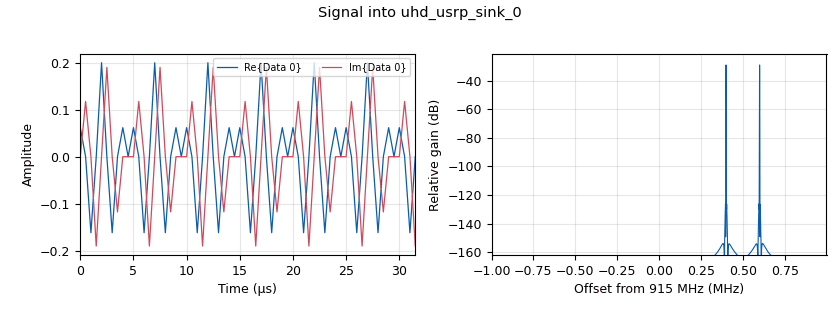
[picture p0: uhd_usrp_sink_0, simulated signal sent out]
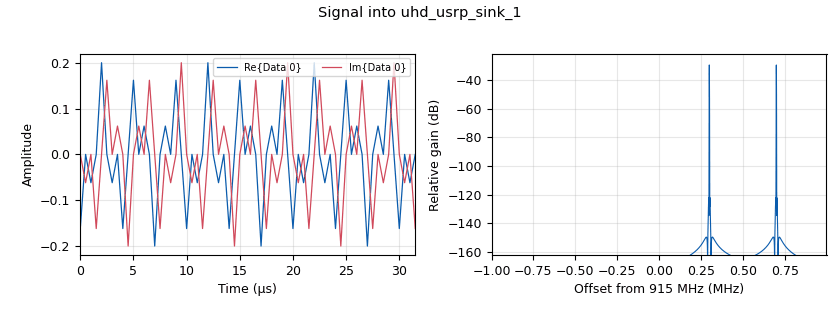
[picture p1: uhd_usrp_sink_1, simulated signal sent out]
<?xml version='1.0' encoding='utf-8'?>
<?grc format='1' created='3.7.13'?>
<flow_graph>
<block>
<key>options</key>
<param><key>id</key><value>top_block</value></param>
<param><key>generate_options</key><value>qt_gui</value></param>
</block>
<block>
<key>variable</key>
<param><key>id</key><value>amp</value></param>
<param><key>value</key><value>0.1</value></param>
</block>
<block>
<key>variable</key>
<param><key>id</key><value>bw</value></param>
<param><key>value</key><value>2e6</value></param>
</block>
<block>
<key>variable</key>
<param><key>id</key><value>center_freq_rx</value></param>
<param><key>value</key><value>center_freq_tx + samp_rate</value></param>
</block>
<block>
<key>variable</key>
<param><key>id</key><value>center_freq_tx</value></param>
<param><key>value</key><value>915e6</value></param>
</block>
<block>
<key>variable</key>
<param><key>id</key><value>fft_size</value></param>
<param><key>value</key><value>20</value></param>
</block>
<block>
<key>variable</key>
<param><key>id</key><value>master_signal</value></param>
<param><key>value</key><value>(0, 0, 0, 0, 0,0, 0, 0, 0, 0, 0, 0, 0, 0, 1, 0, 1,  0, 0, 0)</value></param>
</block>
<block>
<key>variable</key>
<param><key>id</key><value>power_gain</value></param>
<param><key>value</key><value>70</value></param>
</block>
<block>
<key>variable</key>
<param><key>id</key><value>samp_rate</value></param>
<param><key>value</key><value>2e6</value></param>
</block>
<block>
<key>variable</key>
<param><key>id</key><value>slave_signal_1</value></param>
<param><key>value</key><value>(0, 0, 0, 0, 0,0, 0, 0, 0, 0, 0, 0, 0, 1, 0, 0, 0,  1, 0, 0)</value></param>
</block>
<block>
<key>beamnet_channel_estimation</key>
<param><key>id</key><value>beamnet_channel_estimation_0</value></param>
<param><key>tx_ch_index</key><value>(0, 0, 0, 0, 0,0, 0, 0, 0, 0, 0, 0, 0, 1, 1, 0, 1,  1, 0, 0)</value></param>
<param><key>tx_num</key><value>2</value></param>
</block>
<block>
<key>beamnet_correlation_detector</key>
<param><key>id</key><value>beamnet_correlation_detector_0</value></param>
<param><key>deviation</key><value>1e-4</value></param>
<param><key>len</key><value>3 * fft_size</value></param>
<param><key>threshold</key><value>2e-3</value></param>
</block>
<block>
<key>blocks_file_sink</key>
<param><key>id</key><value>blocks_file_sink_0</value></param>
<param><key>_enabled</key><value>0</value></param>
<param><key>file</key><value>/home/shiyue_deep/Projects/gr-beamnet/apps/debug_raw_data_from_master.bin</value></param>
<param><key>type</key><value>complex</value></param>
</block>
<block>
<key>blocks_multiply_const_vxx</key>
<param><key>id</key><value>blocks_multiply_const_vxx_0</value></param>
<param><key>const</key><value>amp</value></param>
<param><key>type</key><value>complex</value></param>
</block>
<block>
<key>blocks_multiply_const_vxx</key>
<param><key>id</key><value>blocks_multiply_const_vxx_0_0</value></param>
<param><key>const</key><value>amp</value></param>
<param><key>type</key><value>complex</value></param>
</block>
<block>
<key>blocks_vector_to_stream</key>
<param><key>id</key><value>blocks_vector_to_stream_0_0_0</value></param>
<param><key>type</key><value>complex</value></param>
<param><key>num_items</key><value>fft_size</value></param>
</block>
<block>
<key>blocks_vector_to_stream</key>
<param><key>id</key><value>blocks_vector_to_stream_0_0_0_0</value></param>
<param><key>type</key><value>complex</value></param>
<param><key>num_items</key><value>fft_size</value></param>
</block>
<block>
<key>qtgui_time_sink_x</key>
<param><key>id</key><value>qtgui_time_sink_x_0</value></param>
<param><key>autoscale</key><value>True</value></param>
<param><key>color1</key><value>"blue"</value></param>
<param><key>label1</key><value></value></param>
<param><key>size</key><value>1024</value></param>
<param><key>srate</key><value>samp_rate</value></param>
<param><key>type</key><value>float</value></param>
</block>
<block>
<key>fft_vxx</key>
<param><key>id</key><value>reverse_fft_vxx_1</value></param>
<param><key>fft_size</key><value>fft_size</value></param>
<param><key>forward</key><value>False</value></param>
<param><key>type</key><value>complex</value></param>
<param><key>shift</key><value>True</value></param>
<param><key>window</key><value>()</value></param>
</block>
<block>
<key>fft_vxx</key>
<param><key>id</key><value>reverse_fft_vxx_1_0</value></param>
<param><key>fft_size</key><value>fft_size</value></param>
<param><key>forward</key><value>False</value></param>
<param><key>type</key><value>complex</value></param>
<param><key>shift</key><value>True</value></param>
<param><key>window</key><value>()</value></param>
</block>
<block>
<key>uhd_usrp_sink</key>
<param><key>id</key><value>uhd_usrp_sink_0</value></param>
<param><key>ant0</key><value>TX/RX</value></param>
<param><key>bw0</key><value>bw</value></param>
<param><key>center_freq0</key><value>center_freq_tx</value></param>
<param><key>norm_gain0</key><value>False</value></param>
<param><key>gain0</key><value>power_gain</value></param>
<param><key>clock_rate</key><value>0.0</value></param>
<param><key>dev_addr</key><value>"serial=3102765"</value></param>
<param><key>dev_args</key><value>""</value></param>
<param><key>type</key><value>fc32</value></param>
<param><key>sd_spec0</key><value>A:A</value></param>
<param><key>samp_rate</key><value>samp_rate</value></param>
<param><key>hide_cmd_port</key><value>False</value></param>
<param><key>hide_lo_controls</key><value>True</value></param>
<param><key>sync</key><value>pc_clock</value></param>
<param><key>len_tag_name</key><value></value></param>
</block>
<block>
<key>uhd_usrp_sink</key>
<param><key>id</key><value>uhd_usrp_sink_1</value></param>
<param><key>ant0</key><value>TX/RX</value></param>
<param><key>bw0</key><value>bw</value></param>
<param><key>center_freq0</key><value>center_freq_tx</value></param>
<param><key>norm_gain0</key><value>False</value></param>
<param><key>gain0</key><value>power_gain</value></param>
<param><key>clock_rate</key><value>0.0</value></param>
<param><key>dev_addr</key><value>"serial=30FDE5E"</value></param>
<param><key>dev_args</key><value>""</value></param>
<param><key>type</key><value>fc32</value></param>
<param><key>sd_spec0</key><value>A:A</value></param>
<param><key>samp_rate</key><value>samp_rate</value></param>
<param><key>hide_cmd_port</key><value>False</value></param>
<param><key>hide_lo_controls</key><value>True</value></param>
<param><key>sync</key><value>pc_clock</value></param>
<param><key>len_tag_name</key><value></value></param>
</block>
<block>
<key>uhd_usrp_source</key>
<param><key>id</key><value>uhd_usrp_source_0</value></param>
<param><key>ant0</key><value>RX2</value></param>
<param><key>bw0</key><value>bw</value></param>
<param><key>center_freq0</key><value>center_freq_rx</value></param>
<param><key>dc_offs_enb0</key><value>True</value></param>
<param><key>iq_imbal_enb0</key><value>True</value></param>
<param><key>norm_gain0</key><value>False</value></param>
<param><key>gain0</key><value>30</value></param>
<param><key>clock_rate</key><value>0.0</value></param>
<param><key>dev_addr</key><value>"serial=3102765"</value></param>
<param><key>dev_args</key><value>""</value></param>
<param><key>sd_spec0</key><value>A:B</value></param>
<param><key>type</key><value>fc32</value></param>
<param><key>samp_rate</key><value>samp_rate</value></param>
<param><key>hide_cmd_port</key><value>False</value></param>
<param><key>hide_lo_controls</key><value>True</value></param>
<param><key>sync</key><value></value></param>
</block>
<block>
<key>blocks_vector_source_x</key>
<param><key>id</key><value>vector_source_tx</value></param>
<param><key>type</key><value>complex</value></param>
<param><key>repeat</key><value>True</value></param>
<param><key>vlen</key><value>fft_size</value></param>
<param><key>vector</key><value>master_signal</value></param>
</block>
<block>
<key>blocks_vector_source_x</key>
<param><key>id</key><value>vector_source_tx_0</value></param>
<param><key>type</key><value>complex</value></param>
<param><key>repeat</key><value>True</value></param>
<param><key>vlen</key><value>fft_size</value></param>
<param><key>vector</key><value>slave_signal_1</value></param>
</block>
<connection><source_block_id>beamnet_correlation_detector_0</source_block_id><sink_block_id>qtgui_time_sink_x_0</sink_block_id><source_key>0</source_key><sink_key>0</sink_key></connection>
<connection><source_block_id>beamnet_correlation_detector_0</source_block_id><sink_block_id>beamnet_channel_estimation_0</sink_block_id><source_key>target</source_key><sink_key>in</sink_key></connection>
<connection><source_block_id>blocks_multiply_const_vxx_0</source_block_id><sink_block_id>uhd_usrp_sink_0</sink_block_id><source_key>0</source_key><sink_key>0</sink_key></connection>
<connection><source_block_id>blocks_multiply_const_vxx_0_0</source_block_id><sink_block_id>uhd_usrp_sink_1</sink_block_id><source_key>0</source_key><sink_key>0</sink_key></connection>
<connection><source_block_id>blocks_vector_to_stream_0_0_0</source_block_id><sink_block_id>blocks_multiply_const_vxx_0</sink_block_id><source_key>0</source_key><sink_key>0</sink_key></connection>
<connection><source_block_id>blocks_vector_to_stream_0_0_0_0</source_block_id><sink_block_id>blocks_multiply_const_vxx_0_0</sink_block_id><source_key>0</source_key><sink_key>0</sink_key></connection>
<connection><source_block_id>reverse_fft_vxx_1</source_block_id><sink_block_id>blocks_vector_to_stream_0_0_0</sink_block_id><source_key>0</source_key><sink_key>0</sink_key></connection>
<connection><source_block_id>reverse_fft_vxx_1_0</source_block_id><sink_block_id>blocks_vector_to_stream_0_0_0_0</sink_block_id><source_key>0</source_key><sink_key>0</sink_key></connection>
<connection><source_block_id>uhd_usrp_source_0</source_block_id><sink_block_id>beamnet_correlation_detector_0</sink_block_id><source_key>0</source_key><sink_key>0</sink_key></connection>
<connection><source_block_id>uhd_usrp_source_0</source_block_id><sink_block_id>blocks_file_sink_0</sink_block_id><source_key>0</source_key><sink_key>0</sink_key></connection>
<connection><source_block_id>vector_source_tx</source_block_id><sink_block_id>reverse_fft_vxx_1</sink_block_id><source_key>0</source_key><sink_key>0</sink_key></connection>
<connection><source_block_id>vector_source_tx_0</source_block_id><sink_block_id>reverse_fft_vxx_1_0</sink_block_id><source_key>0</source_key><sink_key>0</sink_key></connection>
</flow_graph>
